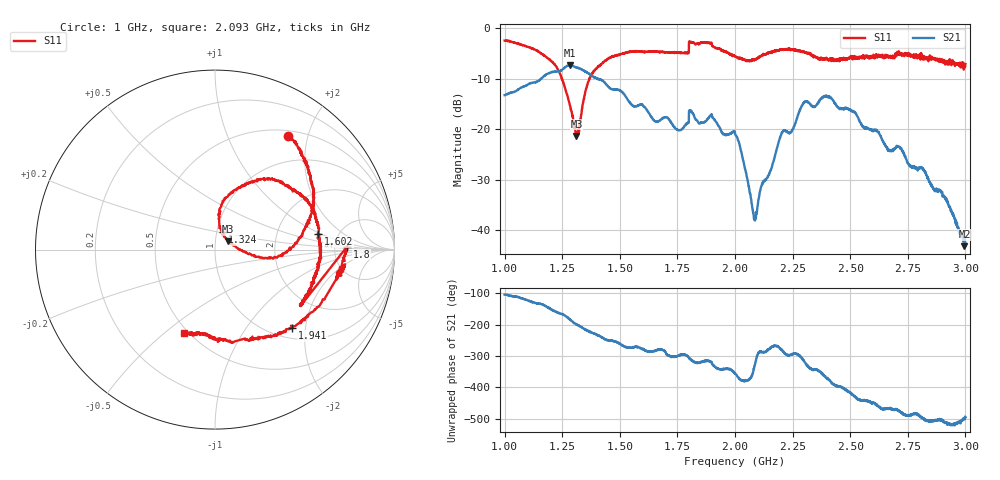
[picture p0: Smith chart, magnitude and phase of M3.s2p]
# HZ S RI R 50
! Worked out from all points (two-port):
!   2020 points, 1 GHz to 3 GHz, reference 50 ohm
!   highest |S21| = -7.31 dB at 1.284 GHz (marker M1); lowest = -43.2 dB at 2.996 GHz (marker M2)
!   |S21| within 3 dB of the highest: 1.152 GHz to 1.422 GHz (270.6 MHz wide, 21 % of centre)
!   lowest |S11| = -21.4 dB at 1.312 GHz (marker M3), VSWR 1.19, Z = 57.5 + j5.31 ohm
!   |S11| at or under -10 dB: 1.248 GHz to 1.367 GHz (119.3 MHz wide, 9.12 % of centre)
!   S12 and S22 are empty: the file has one direction only
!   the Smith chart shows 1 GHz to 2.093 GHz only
!   S11 on the Smith chart (normalised r, x): 1 GHz: 0.57, +1.68; 1.324 GHz: 1.07, +0.21; 1.602 GHz: 3.50, +0.93; 1.8 GHz: 6.54, +0.46; 1.941 GHz: 1.21, -1.70; 2.093 GHz: 0.47, -0.59
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1e9  0.4063 0.6352  -0.0533 -0.2103  0 0  0 0
1.208022e9  0.4567 0.0415  -0.3303 -0.1614  0 0  0 0
1.284298e9  0.1697 -0.0129  -0.4303 0.0261  0 0  0 0
1.312035e9  0.0721 0.0458  -0.3838 0.1338  0 0  0 0
1.323922e9  0.0422 0.0995  -0.3648 0.1663  0 0  0 0
1.333828e9  0.0244 0.1419  -0.3416 0.1879  0 0  0 0
1.398216e9  0.1656 0.3629  -0.2027 0.2498  0 0  0 0
1.602277e9  0.574 0.0875  0.0223 0.1671  0 0  0 0
1.667656e9  0.5795 -0.0621  0.0191 0.1176  0 0  0 0
1.789499e9  0.4831 -0.2951  0.0524 0.1009  0 0  0 0
1.800395e9  0.7356 0.0162  0.0895 0.1223  0 0  0 0
1.889548e9  0.7044 -0.1437  0.0984 0.0892  0 0  0 0
1.941059e9  0.4309 -0.4363  0.0898 0.0276  0 0  0 0
2.000494e9  0.1087 -0.5118  0.0886 0.00708  0 0  0 0
2.092618e9  -0.1732 -0.4672  0.00939 0.0118  0 0  0 0
2.217433e9  -0.6186 -0.055  0.0366 0.0905  0 0  0 0
2.334323e9  -0.3285 0.4262  0.162 0.0496  0 0  0 0
2.411588e9  -0.1821 0.4683  0.2003 -0.0614  0 0  0 0
2.66716e9  0.3213 0.4182  -0.0176 -0.0581  0 0  0 0
2.81773e9  0.448 0.2226  -0.0302 -0.0267  0 0  0 0
2.996036e9  0.4282 -0.1067  -0.00525 -0.00449  0 0  0 0
2.999999e9  0.4164 -0.1454  -0.00514 -0.00507  0 0  0 0
